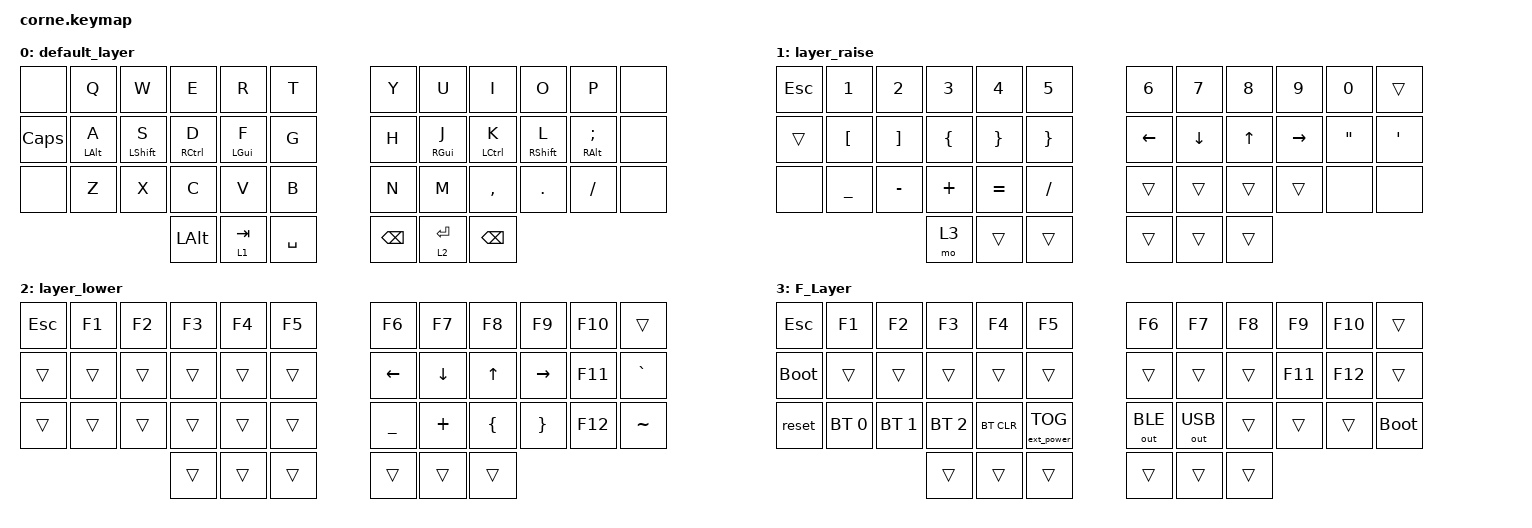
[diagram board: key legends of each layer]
/*
 * Copyright (c) 2020 The ZMK Contributors
 *
 * SPDX-License-Identifier: MIT
 */
/* THIS FILE WAS GENERATED!
 *
 * This file was generated automatically. You may or may not want to
 * edit it directly.
 */

#include <behaviors.dtsi>
#include <dt-bindings/zmk/keys.h>
#include <dt-bindings/zmk/bt.h>
#include <dt-bindings/zmk/ext_power.h>
#include <dt-bindings/zmk/outputs.h>

&kscan0 {
    debounce-press-ms = <10>;
    debounce-release-ms = <10>;
};

/ {
    combos {
        compatible = "zmk,combos";
    };

    behaviors {
        hm: homerow_mods {
            compatible = "zmk,behavior-hold-tap";
            label = "HOMEROW_MODS";
            #binding-cells = <2>;
            tapping-term-ms = <50>;
            quick-tap-ms = <0>;
            flavor = "tap-preferred";
            bindings =
                <&kp>,
                <&kp>;
        };
    };

    keymap {
        compatible = "zmk,keymap";

        default_layer {
            bindings = <
   &none           &kp Q             &kp W         &kp E           &kp R      &kp T          &kp Y            &kp U               &kp I              &kp O               &kp P  &none
&kp CLCK  &hm LEFT_ALT A  &hm LEFT_SHIFT S   &hm RCTRL D  &hm LEFT_GUI F      &kp G          &kp H  &hm RIGHT_GUI J  &hm LEFT_CONTROL K  &hm RIGHT_SHIFT L  &hm RIGHT_ALT SEMI  &none
   &none           &kp Z             &kp X         &kp C           &kp V      &kp B          &kp N            &kp M           &kp COMMA            &kp DOT           &kp SLASH  &none
                                            &kp LEFT_ALT       &lt 1 TAB  &kp SPACE  &kp BACKSPACE      &lt 2 ENTER       &kp BACKSPACE
            >;
        };

        layer_raise {
            bindings = <
&kp ESCAPE            &kp N1             &kp N2          &kp N3     &kp NUMBER_4     &kp NUMBER_5  &kp NUMBER_6  &kp NUMBER_7  &kp NUMBER_8  &kp NUMBER_9       &kp NUMBER_0            &trans
    &trans  &kp LEFT_BRACKET  &kp RIGHT_BRACKET  &kp LEFT_BRACE  &kp RIGHT_BRACE  &kp RIGHT_BRACE      &kp LEFT      &kp DOWN        &kp UP     &kp RIGHT  &kp DOUBLE_QUOTES  &kp SINGLE_QUOTE
     &none    &kp UNDERSCORE          &kp MINUS        &kp PLUS        &kp EQUAL        &kp SLASH        &trans        &trans        &trans        &trans              &none             &none
                                                          &mo 3           &trans           &trans        &trans        &trans        &trans
            >;
        };

        layer_lower {
            bindings = <
&kp ESCAPE  &kp F1  &kp F2  &kp F3  &kp F4  &kp F5     &kp F6    &kp F7    &kp F8     &kp F9  &kp F10     &trans
    &trans  &trans  &trans  &trans  &trans  &trans   &kp LEFT  &kp DOWN    &kp UP  &kp RIGHT  &kp F11  &kp GRAVE
    &trans  &trans  &trans  &trans  &trans  &trans  &kp UNDER  &kp PLUS  &kp LBRC   &kp RBRC  &kp F12  &kp TILDE
                            &trans  &trans  &trans     &trans    &trans    &trans
            >;
        };

        F_Layer {
            bindings = <
    &kp ESC        &kp F1        &kp F2        &kp F3      &kp F4             &kp F5        &kp F6        &kp F7  &kp F8   &kp F9  &kp F10       &trans
&bootloader        &trans        &trans        &trans      &trans             &trans        &trans        &trans  &trans  &kp F11  &kp F12       &trans
     &reset  &bt BT_SEL 0  &bt BT_SEL 1  &bt BT_SEL 2  &bt BT_CLR  &ext_power EP_TOG  &out OUT_BLE  &out OUT_USB  &trans   &trans   &trans  &bootloader
                                               &trans      &trans             &trans        &trans        &trans  &trans
            >;
        };
    };
};
